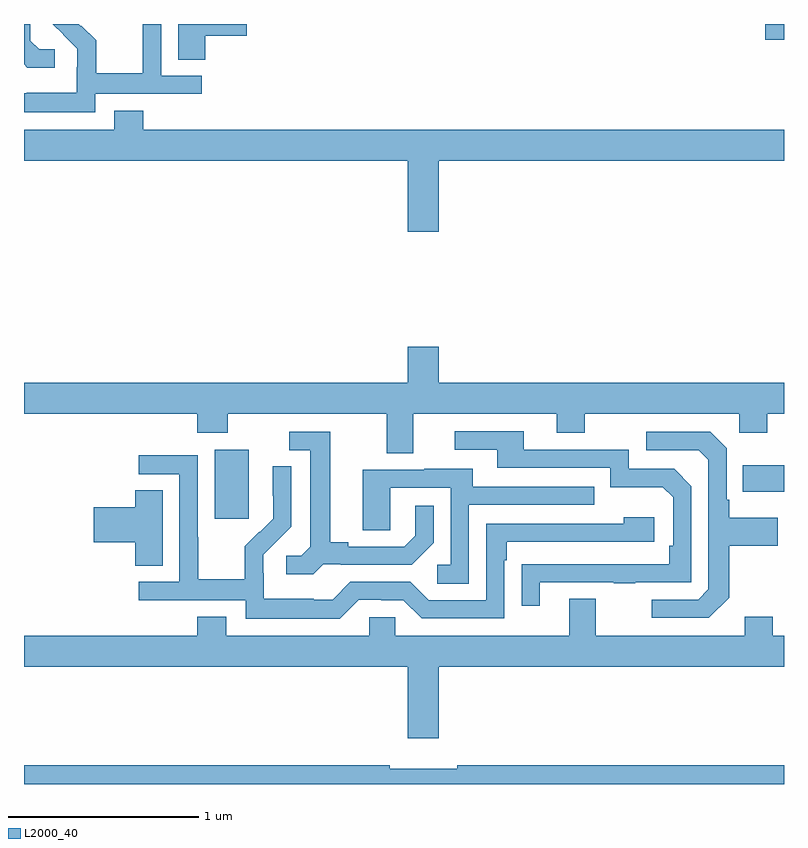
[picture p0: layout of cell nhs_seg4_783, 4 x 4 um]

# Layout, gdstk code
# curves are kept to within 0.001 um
import gdstk
lib = gdstk.Library(unit=1e-6, precision=1e-09)
def R(c, l, rs):  # rectangles x0, y0, x1, y1
    for r in rs: c.add(gdstk.rectangle(r[:2], r[2:], *l))
def P(c, l, *ps):  # polygons
    for p in ps: c.add(gdstk.Polygon(p, *l))
L2000_40 = (2000, 40)

nhs_seg4_783 = lib.new_cell('nhs_seg4_783')
R(nhs_seg4_783, L2000_40, [(152.003,768.297,152.182,768.658), (154.783,768.437,155,768.577), (154.902,770.818,155,770.9)])
P(nhs_seg4_783, L2000_40, [(151.162,770.766),(151.08,770.766),(151.033,770.813),(151.033,770.9),(151,770.9),(151,770.687),(151.018,770.669),(151.162,770.669)],
  [(151.955,770.837),(152.173,770.837),(152.173,770.9),(151.811,770.9),(151.811,770.713),(151.955,770.713)],
  [(151.374,770.532),(151.936,770.532),(151.936,770.628),(151.722,770.628),(151.722,770.9),(151.626,770.9),(151.626,770.864),(151.624,770.864),(151.624,770.641),(151.379,770.641),(151.379,770.815),(151.302,770.892),(151.299,770.889),(151.288,770.9),(151.152,770.9),(151.28,770.77),(151.28,770.673),(151.278,770.673),(151.278,770.539),(151.015,770.539),(151.015,770.535),(151,770.535),(151,770.435),(151.374,770.435)],
  [(153.184,770.18),(155,770.18),(155,770.344),(151.628,770.344),(151.628,770.443),(151.475,770.443),(151.475,770.344),(151,770.344),(151,770.18),(153.02,770.18),(153.02,769.806),(153.184,769.806)],
  [(153.049,768.848),(153.803,768.848),(153.803,768.749),(153.951,768.749),(153.951,768.848),(154.764,768.848),(154.764,768.749),(154.911,768.749),(154.911,768.848),(155,768.848),(155,769.012),(153.184,769.012),(153.184,769.201),(153.02,769.201),(153.02,769.012),(151,769.012),(151,768.848),(151.913,768.848),(151.913,768.749),(152.073,768.749),(152.073,768.848),(152.909,768.848),(152.909,768.64),(153.049,768.64)],
  [(153.715,767.961),(154.105,767.961),(154.105,767.956),(154.217,767.956),(154.217,767.961),(154.512,767.961),(154.512,768.468),(154.422,768.558),(154.182,768.558),(154.182,768.66),(153.631,768.66),(153.631,768.756),(153.267,768.756),(153.267,768.66),(153.491,768.66),(153.491,768.564),(154.086,768.564),(154.086,768.461),(154.363,768.461),(154.416,768.408),(154.416,768.154),(154.396,768.154),(154.396,768.057),(153.619,768.056),(153.619,767.838),(153.715,767.838)],
  [(154.711,767.881),(154.711,768.154),(154.967,768.154),(154.967,768.301),(154.711,768.301),(154.711,768.397),(154.698,768.397),(154.698,768.666),(154.611,768.753),(154.275,768.753),(154.275,768.657),(154.551,768.657),(154.602,768.606),(154.602,767.925),(154.548,767.871),(154.305,767.871),(154.305,767.775),(154.605,767.775)],
  [(152.574,768.057),(152.668,768.057),(152.668,768.054),(153.04,768.054),(153.156,768.17),(153.156,768.364),(153.059,768.364),(153.059,768.207),(153.002,768.15),(152.707,768.15),(152.707,768.173),(152.611,768.173),(152.611,768.753),(152.397,768.753),(152.397,768.657),(152.507,768.657),(152.507,768.149),(152.46,768.102),(152.379,768.102),(152.379,768.005),(152.522,768.005)],
  [(152.763,767.871),(152.879,767.871),(152.879,767.868),(152.997,767.868),(153.093,767.772),(153.528,767.772),(153.528,768.077),(153.541,768.077),(153.541,768.174),(154.318,768.174),(154.318,768.304),(154.157,768.304),(154.157,768.27),(153.432,768.27),(153.432,767.868),(153.129,767.868),(153.033,767.964),(152.718,767.964),(152.625,767.871),(152.525,767.871),(152.525,767.875),(152.262,767.875),(152.262,768.009),(152.26,768.009),(152.26,768.106),(152.406,768.254),(152.406,768.572),(152.31,768.572),(152.31,768.418),(152.312,768.418),(152.312,768.296),(152.241,768.225),(152.238,768.228),(152.161,768.151),(152.161,767.977),(151.917,767.977),(151.917,768.2),(151.914,768.2),(151.914,768.63),(151.605,768.63),(151.605,768.531),(151.818,768.531),(151.818,767.964),(151.605,767.964),(151.605,767.868),(152.166,767.868),(152.166,767.771),(152.663,767.771)],
  [(153.342,768.369),(154.001,768.369),(154.001,768.465),(153.361,768.465),(153.361,768.559),(153.107,768.559),(153.107,768.555),(152.783,768.555),(152.783,768.235),(152.928,768.235),(152.928,768.459),(153.246,768.459),(153.246,768.054),(153.174,768.054),(153.174,767.953),(153.342,767.953)],
  [(151.729,768.446),(151.586,768.446),(151.586,768.356),(151.368,768.356),(151.368,768.173),(151.586,768.173),(151.586,768.049),(151.729,768.049)],
  [(153.184,767.516),(155,767.516),(155,767.68),(154.941,767.68),(154.941,767.779),(154.793,767.779),(154.793,767.68),(154.009,767.68),(154.009,767.875),(153.869,767.875),(153.869,767.68),(152.955,767.68),(152.955,767.778),(152.817,767.778),(152.817,767.68),(152.065,767.68),(152.065,767.779),(151.913,767.779),(151.913,767.68),(151,767.68),(151,767.516),(153.02,767.516),(153.02,767.142),(153.184,767.142)],
  [(155,767),(153.28,767),(153.28,766.981),(152.924,766.981),(152.924,767),(151,767),(151,766.9),(155,766.9)])

lib.write_gds('nhs_seg4_783.gds')
